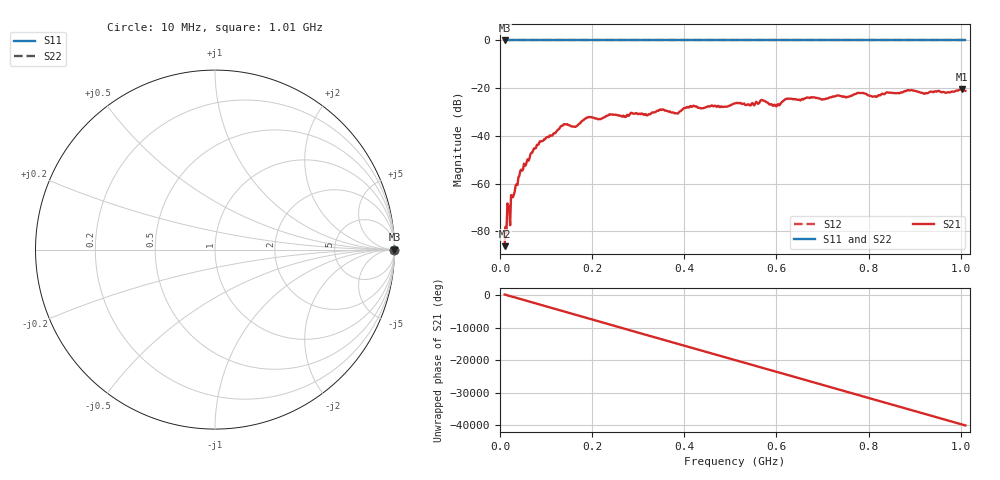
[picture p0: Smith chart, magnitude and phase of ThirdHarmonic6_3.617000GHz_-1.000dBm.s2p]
! 8/17/2025 12:05:58 PM
! C:\ANRITSUVNA\TEMP\TEMP.S2P
! CHANNEL.1
! TR.MEASUREMENT
! RAW.DATA
! RF.CORRECTION.OFF
! AVERAGING.OFF
! IF.BANDWIDTH: 5KHZ
! SWEEPTYPE:  FREQ.SWEEP(Linear)
! Reference Plane Port Info
! PORT:  PORT1  PORT2
! DISTANCE:  0  m  0  m
! TIME:  0  s  0  s
! PHASE.OFFSET:  0  deg.  0  deg.
! LOSS:  0  dB  0  dB
! REF.LOSS:  0  dB  0  dB
! REF.FREQ:  0  Hz  0  Hz
! Power Info
! POWER:  -20  dBm  -20  dBm
! EFF.POWER:  -20  dBm  -20  dBm
! SOURCE.ATTEN:  0  dB  0  dB
! TEST.ATTEN:  0  dB  0  dB
# GHZ S RI R 50.0
! FREQ.GHZ  S11RE  S11IM  S21RE  S21IM  S12RE  S12IM  S22RE  S22IM
!; PortSelection: Port_12
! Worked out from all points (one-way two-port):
!   501 points, 10 MHz to 1.01 GHz, reference 50 ohm
!   highest |S21| = -20.39 dB at 1.002 GHz (marker M1); lowest = -86.2 dB at 10 MHz (marker M2)
!   lowest |S11| = 0.0 dB at 10 MHz (marker M3)
!   |S11| at or under -10 dB: nowhere
!   |S22| runs from 0.0 to 0.0 dB; largest |S21 - S12| = 1.1
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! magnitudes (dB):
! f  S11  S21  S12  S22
! 10 MHz  0.0  -86.2  0.0  0.0
! 20 MHz  0.0  -69.6  0.0  0.0
! 44 MHz  0.0  -54.7  0.0  0.0
! 70 MHz  0.0  -47.0  0.0  0.0
! 136 MHz  0.0  -35.7  0.0  0.0
! 164 MHz  0.0  -36.2  0.0  0.0
! 178 MHz  0.0  -33.8  0.0  0.0
! 192 MHz  0.0  -32.1  0.0  0.0
! 322 MHz  0.0  -31.0  0.0  0.0
! 344 MHz  0.0  -29.5  0.0  0.0
! 382 MHz  0.0  -30.5  0.0  0.0
! 416 MHz  0.0  -27.8  0.0  0.0
! 510 MHz  0.0  -26.4  0.0  0.0
! 570 MHz  0.0  -25.0  0.0  0.0
! 596 MHz  0.0  -26.9  0.0  0.0
! 622 MHz  0.0  -24.4  0.0  0.0
! 678 MHz  0.0  -23.9  0.0  0.0
! 780 MHz  0.0  -22.0  0.0  0.0
! 814 MHz  0.0  -23.4  0.0  0.0
! 844 MHz  0.0  -21.9  0.0  0.0
! 1.002 GHz  0.0  -20.4  0.0  0.0
! 1.01 GHz  0.0  -21.1  0.0  0.0
